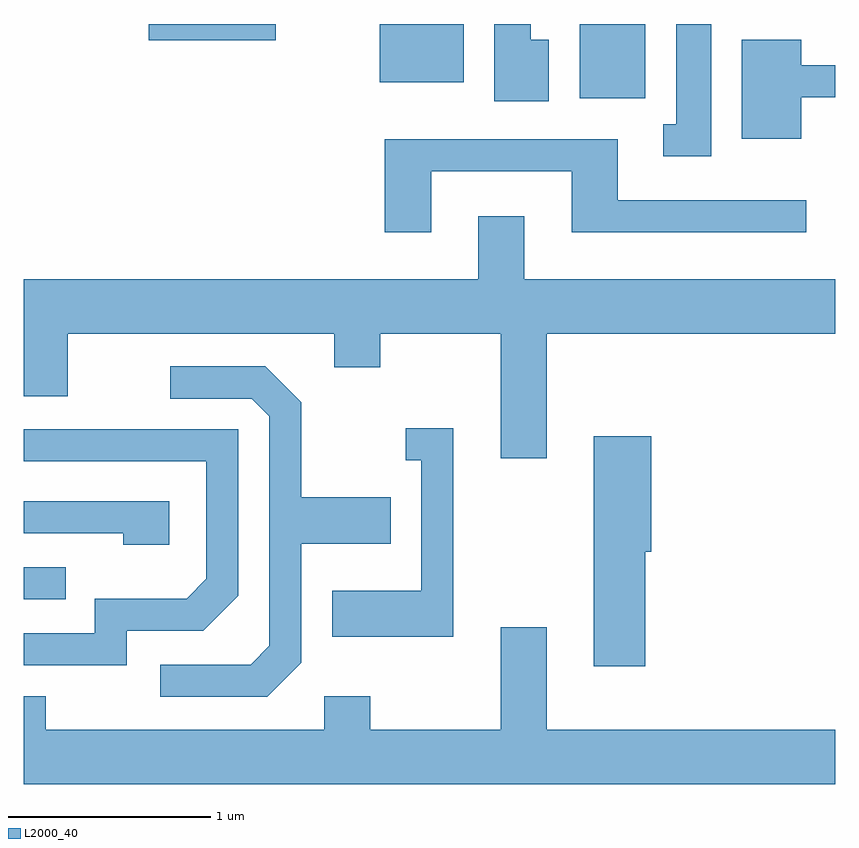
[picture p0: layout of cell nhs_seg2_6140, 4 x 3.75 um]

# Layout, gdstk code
import gdstk
lib = gdstk.Library(unit=1e-6, precision=1e-09)
def R(c, l, rs):  # rectangles x0, y0, x1, y1
    for r in rs: c.add(gdstk.rectangle(r[:2], r[2:], *l))
def P(c, l, *ps):  # polygons
    for p in ps: c.add(gdstk.Polygon(p, *l))
L2000_40 = (2000, 40)

nhs_seg2_6140 = lib.new_cell('nhs_seg2_6140')
R(nhs_seg2_6140, L2000_40, [(365.611,1086.966,365.818,1087.124), (368.351,1089.436,368.674,1089.802), (367.366,1089.516,367.779,1089.802), (366.226,1089.721,366.854,1089.802)])
P(nhs_seg2_6140, L2000_40, [(368.199,1089.724),(368.109,1089.724),(368.109,1089.802),(367.931,1089.802),(367.931,1089.421),(368.199,1089.421)],
  [(368.999,1089.802),(368.826,1089.802),(368.826,1089.309),(368.763,1089.309),(368.763,1089.151),(368.999,1089.151)],
  [(369.444,1089.441),(369.611,1089.441),(369.611,1089.599),(369.444,1089.599),(369.444,1089.724),(369.151,1089.724),(369.151,1089.236),(369.444,1089.236)],
  [(367.619,1089.076),(368.311,1089.076),(368.311,1088.776),(369.468,1088.776),(369.468,1088.934),(368.539,1088.934),(368.539,1089.234),(367.391,1089.234),(367.391,1088.776),(367.619,1088.776)],
  [(368.189,1088.276),(369.611,1088.276),(369.611,1088.544),(368.079,1088.544),(368.079,1088.854),(367.851,1088.854),(367.851,1088.544),(365.611,1088.544),(365.611,1087.966),(365.829,1087.966),(365.829,1088.276),(367.141,1088.276),(367.141,1088.111),(367.369,1088.111),(367.369,1088.276),(367.961,1088.276),(367.961,1087.661),(368.189,1087.661)],
  [(366.979,1086.654),(366.979,1087.241),(367.419,1087.241),(367.419,1087.469),(366.979,1087.469),(366.979,1087.937),(366.802,1088.114),(366.333,1088.114),(366.333,1087.956),(366.734,1087.956),(366.821,1087.869),(366.821,1086.737),(366.729,1086.644),(366.283,1086.644),(366.283,1086.486),(366.812,1086.486)],
  [(367.729,1087.809),(367.493,1087.809),(367.493,1087.651),(367.571,1087.651),(367.571,1087.009),(367.131,1087.009),(367.131,1086.781),(367.729,1086.781)],
  [(366.119,1086.811),(366.497,1086.811),(366.669,1086.984),(366.669,1087.804),(365.611,1087.804),(365.611,1087.646),(366.511,1087.646),(366.511,1087.067),(366.414,1086.969),(365.961,1086.969),(365.961,1086.799),(365.611,1086.799),(365.611,1086.641),(366.119,1086.641)],
  [(368.674,1087.201),(368.704,1087.201),(368.704,1087.769),(368.421,1087.769),(368.421,1086.636),(368.674,1086.636)],
  [(366.329,1087.449),(365.611,1087.449),(365.611,1087.291),(366.101,1087.291),(366.101,1087.236),(366.329,1087.236)],
  [(369.611,1086.324),(368.189,1086.324),(368.189,1086.829),(367.961,1086.829),(367.961,1086.324),(367.319,1086.324),(367.319,1086.489),(367.091,1086.489),(367.091,1086.324),(365.719,1086.324),(365.719,1086.489),(365.611,1086.489),(365.611,1086.056),(369.611,1086.056)])

lib.write_gds('nhs_seg2_6140.gds')
